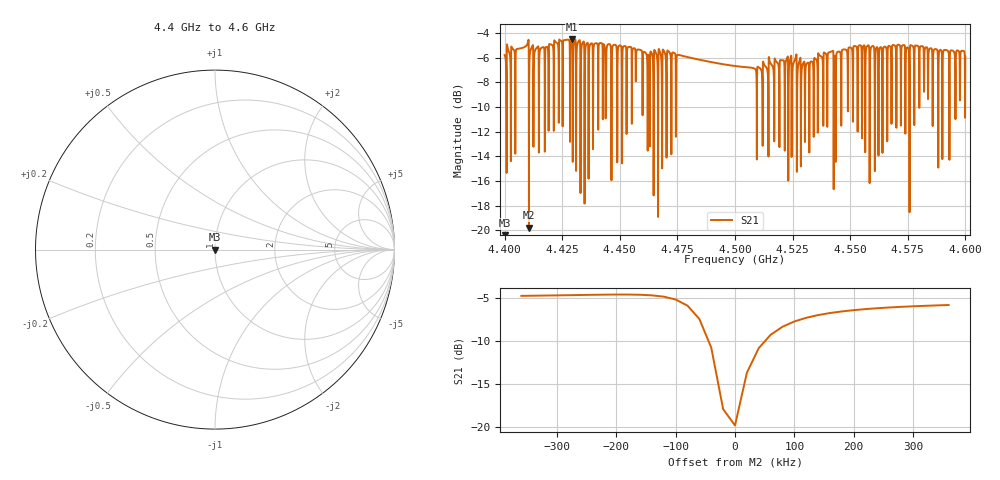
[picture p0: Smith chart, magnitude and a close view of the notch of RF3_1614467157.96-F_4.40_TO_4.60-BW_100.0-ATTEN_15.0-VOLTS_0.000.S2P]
!Keysight Technologies,E5063A,MY54502693,A.05.04
!Date: Sat Feb 27 16:06:17 2021
!Data & Calibration Information:
!Freq	S11:NONE(--)	S21:NONE(--)	S12:NONE(--)	S22:NONE(--)
# Hz S RI R 50
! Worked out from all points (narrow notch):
!   10000 points, 4.4 GHz to 4.6 GHz, reference 50 ohm
!   highest |S21| = -4.50 dB at 4.4291 GHz (marker M1); lowest = -19.8 dB at 4.4106 GHz (marker M2)
!   notch at M2: 14.2 dB deep, 61.4 kHz wide at half that depth
!   lowest |S11| = - dB at 4.4 GHz (marker M3), VSWR 1.00, Z = 50 + j0 ohm
!   |S11| at or under -10 dB: start of sweep to end of sweep
!   S12 and S22 are empty: the file has one direction only
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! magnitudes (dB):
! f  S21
! 4.4 GHz  -5.8
! 4.4094 GHz  -5.0
! 4.4106 GHz  -19.8
! 4.427 GHz  -4.6
! 4.4291 GHz  -4.5
! 4.4333 GHz  -5.2
! 4.4477 GHz  -5.0
! 4.4667 GHz  -9.4
! 4.5 GHz  -6.7
! 4.5204 GHz  -6.2
! 4.5241 GHz  -6.1
! 4.5258 GHz  -6.3
! 4.5278 GHz  -6.4
! 4.5334 GHz  -6.3
! 4.5416 GHz  -5.5
! 4.5437 GHz  -9.6
! 4.5474 GHz  -5.3
! 4.5559 GHz  -5.0
! 4.5596 GHz  -5.1
! 4.5615 GHz  -5.2
! 4.5667 GHz  -5.1
! 4.6 GHz  -5.9
